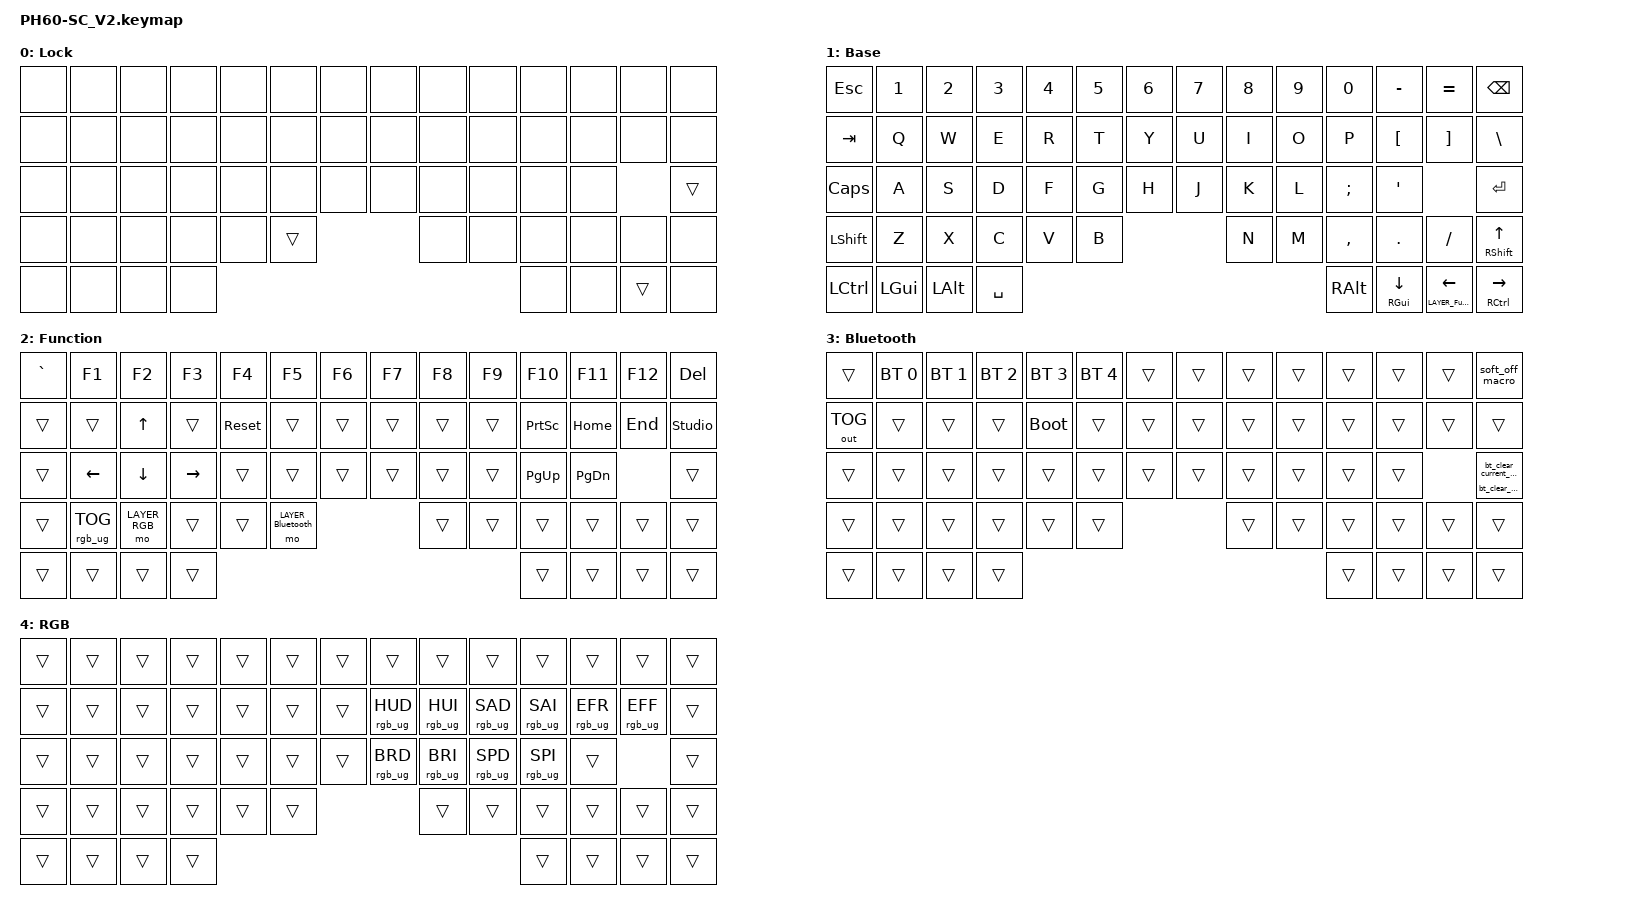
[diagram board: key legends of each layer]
/*
 * Copyright (c) 2025 Team PHDesign
 *
 * SPDX-License-Identifier: MIT
 */

#include <behaviors.dtsi>
#include <dt-bindings/zmk/keys.h>
#include <dt-bindings/zmk/bt.h>
#include <dt-bindings/zmk/outputs.h>
#include <dt-bindings/zmk/rgb.h>
#include <dt-bindings/zmk/hid_indicators.h>

#define LAYER_Lock 0
#define LAYER_Base 1
#define LAYER_Function 2
#define LAYER_Bluetooth 3
#define LAYER_RGB 4

#include "PH60-SC_V2-rgb.dtsi"



/ {

    combos {
        compatible = "zmk,combos";

                // fn(59) + B(46) + Enter(40) on LAYER_Lock -> unlock
        combo_unlock {
            timeout-ms = <100>;
            key-positions = <59 46 40>;
            bindings = <&unlock_macro>;
            layers = <LAYER_Lock>;
        };
    };

    behaviors {
        
        // Macro to clear current BT profile (tap)
        bt_clear_current_macro: bt_clear_current_macro {
            compatible = "zmk,behavior-macro";
            #binding-cells = <0>;
            bindings = <&bt BT_CLR>;
        };

        // Macro to clear all BT profiles (hold)
        bt_clear_all_macro: bt_clear_all_macro {
            compatible = "zmk,behavior-macro";
            #binding-cells = <0>;
            bindings = <&bt BT_CLR_ALL>;
        };

                                                                                // Soft off macro: power off (wake restarts from layer 0 = Lock)
        soft_off_macro: soft_off_macro {
            compatible = "zmk,behavior-macro";
            #binding-cells = <0>;
            bindings = <&soft_off>;
        };

                // Unlock macro: switch to base layer -> RGB on
        unlock_macro: unlock_macro {
            compatible = "zmk,behavior-macro";
            #binding-cells = <0>;
            bindings = <&to LAYER_Base>, <&rgb_ug RGB_ON>;
        };

        // Hold to clear all BT profiles, Tap to clear current
        bt_clear_holdtap: bt_clear_holdtap {
            compatible = "zmk,behavior-hold-tap";
            #binding-cells = <2>;
            flavor = "tap-preferred";
            tapping-term-ms = <3000>;
            bindings = <&bt_clear_all_macro>, <&bt_clear_current_macro>;
        };

    };

    keymap {
        compatible = "zmk,keymap";

                        lock_layer {
            display-name = "Lock";
            bindings = <
&none    &none  &none  &none  &none  &none  &none  &none  &none  &none  &none  &none  &none  &none
&none    &none  &none  &none  &none  &none  &none  &none  &none  &none  &none  &none  &none  &none
&none    &none  &none  &none  &none  &none  &none  &none  &none  &none  &none  &none          &trans
&none           &none  &none  &none  &none  &trans &none  &none  &none  &none  &none          &none
&none    &none  &none                      &none                      &none  &none  &trans  &none
            >;
        };

        default_layer {
            display-name = "Base";
            bindings = <
&kp ESC   &kp N1 &kp N2 &kp N3 &kp N4 &kp N5 &kp N6 &kp N7 &kp N8    &kp N9  &kp N0    &kp MINUS &kp EQUAL     &kp BSPC
&kp TAB   &kp Q  &kp W  &kp E  &kp R  &kp T  &kp Y  &kp U  &kp I     &kp O   &kp P     &kp LBKT  &kp RBKT      &kp BSLH
&kp CAPS  &kp A  &kp S  &kp D  &kp F  &kp G  &kp H  &kp J  &kp K     &kp L   &kp SEMI  &kp SQT                 &kp RET
&kp LSHFT        &kp Z  &kp X  &kp C  &kp V  &kp B  &kp N  &kp M     &kp COMMA &kp DOT &kp SLASH               &mt RSHFT UP
&kp LCTRL &kp LGUI &kp LALT                 &kp SPACE                &kp RALT  &mt RGUI DOWN  &lt LAYER_Function LEFT  &mt RCTRL RIGHT
            >;
        };

        function_layer {
            display-name = "Function";
            bindings = <
&kp GRAVE &kp F1    &kp F2    &kp F3          &kp F4    &kp F5    &kp F6    &kp F7    &kp F8    &kp F9    &kp F10   &kp F11   &kp F12       &kp DEL
&trans    &trans    &kp UP    &trans          &sys_reset  &trans  &trans    &trans    &trans    &trans    &kp PSCRN &kp HOME  &kp END       &studio_unlock
&trans    &kp LEFT  &kp DOWN  &kp RIGHT       &trans      &trans  &trans    &trans    &trans    &trans    &kp PG_UP &kp PG_DN               &trans
&trans              &rgb_ug RGB_TOG &mo LAYER_RGB   &trans          &trans          &mo LAYER_Bluetooth &trans &trans &trans &trans &trans     &trans
&trans    &trans    &trans                              &trans                                  &trans    &trans    &trans                  &trans
            >;
        };

        bluetooth_layer {
            display-name = "Bluetooth";
            bindings = <
&trans       &bt BT_SEL 0  &bt BT_SEL 1  &bt BT_SEL 2  &bt BT_SEL 3  &bt BT_SEL 4  &trans  &trans  &trans  &trans  &trans  &trans  &trans  &soft_off_macro
&out OUT_TOG &trans        &trans        &trans        &bootloader   &trans        &trans  &trans  &trans  &trans  &trans  &trans  &trans  &trans
&trans       &trans        &trans        &trans        &trans        &trans        &trans  &trans  &trans  &trans  &trans  &trans          &bt_clear_holdtap 0 0
&trans                     &trans        &trans        &trans        &trans        &trans  &trans  &trans  &trans  &trans  &trans          &trans
&trans       &trans        &trans                                    &trans                        &trans  &trans  &trans                  &trans
            >;
        };

        rgb_layer {
            display-name = "RGB";
            bindings = <
&trans       &trans        &trans        &trans        &trans        &trans        &trans               &trans             &trans             &trans             &trans             &trans              &trans            &trans 
&trans       &trans        &trans        &trans        &trans        &trans        &trans               &rgb_ug RGB_HUD    &rgb_ug RGB_HUI    &rgb_ug RGB_SAD    &rgb_ug RGB_SAI    &rgb_ug RGB_EFR     &rgb_ug RGB_EFF   &trans
&trans       &trans        &trans        &trans        &trans        &trans        &trans               &rgb_ug RGB_BRD    &rgb_ug RGB_BRI    &rgb_ug RGB_SPD    &rgb_ug RGB_SPI    &trans                                &trans
&trans                     &trans        &trans        &trans        &trans        &trans               &trans             &trans             &trans             &trans             &trans                                &trans
&trans       &trans        &trans                                     &trans                                      &trans             &trans             &trans                                &trans
            >;
        };

        extra1 {
            display-name = "Extra 1";
            status = "reserved";
        };

        extra2 {
            display-name = "Extra 2";
            status = "reserved";
        };

        extra3 {
            display-name = "Extra 3";
            status = "reserved";
        };
    };
};


